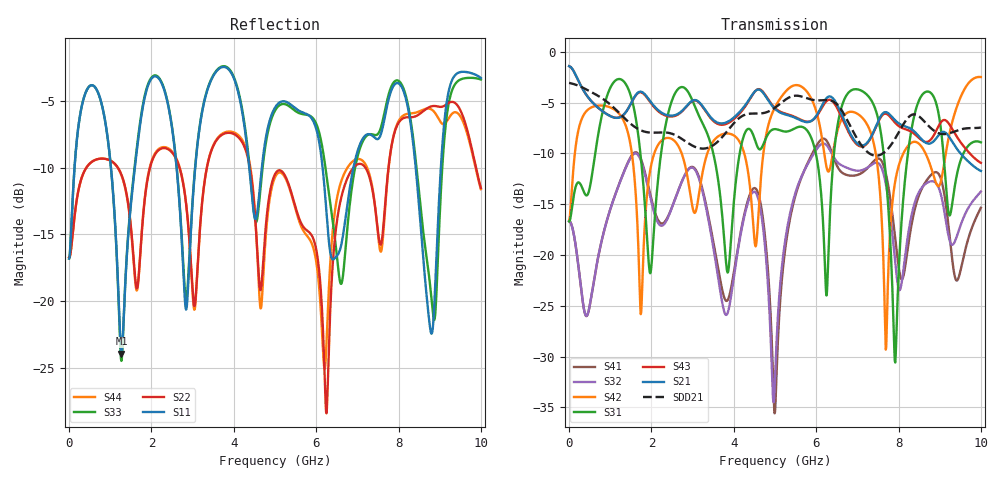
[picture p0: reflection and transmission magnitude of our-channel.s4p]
! Created with skrf 2.0.1 (http://scikit-rf.org).
# Hz S RI R 50.0
!freq ReS11 ImS11 ReS12 ImS12 ReS13 ImS13
! ReS14 ImS14
! ReS21 ImS21 ReS22 ImS22 ReS23 ImS23
! ReS24 ImS24
! ReS31 ImS31 ReS32 ImS32 ReS33 ImS33
! ReS34 ImS34
! ReS41 ImS41 ReS42 ImS42 ReS43 ImS43
! ReS44 ImS44
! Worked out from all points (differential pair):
!   1001 points, 1 MHz to 10 GHz, reference 50 ohm
!   strongest paths, dB at 1 MHz, 2.501 GHz, 5 GHz, 7.5 GHz, 10 GHz:
!     S21: -1.4, -6.3, -5.6, -6.9, -11.7
!     S43: -1.4, -6.4, -5.5, -7.0, -10.9
!     S31: -16.7, -4.8, -7.6, -6.5, -8.9
!     S42: -16.6, -8.6, -5.4, -11.6, -2.5
!     S32: -16.7, -15.3, -32.2, -10.9, -13.8
!     S41: -16.7, -15.3, -35.5, -10.5, -15.3
!   taken as a pair (ports 1,3 in; 2,4 out), SDD21 dB: -3.0, -8.1, -5.5, -10.2, -7.4
!   lowest |S11| = -23.9 dB at 1.271 GHz (marker M1), VSWR 1.14, Z = 56.8 - j0.467 ohm
!   |S11| at or under -10 dB: 1.017 GHz to 1.598 GHz (580.4 MHz wide, 44.4 % of centre); 6.157 GHz to 6.906 GHz (749.2 MHz wide, 11.5 % of centre); 8.417 GHz to 9.028 GHz (611 MHz wide, 7 % of centre)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
1000000  -0.1442 0.00317  0.8509 -0.0033  0.1463 0.000678  0.147 -0.00118
         0.8509 -0.0033  -0.1454 0.00213  0.147 -0.00118  0.1476 0.00173
         0.1463 0.000678  0.147 -0.00118  -0.1442 0.00318  0.8509 -0.0033
         0.147 -0.00118  0.1476 0.00173  0.8509 -0.0033  -0.1454 0.00213
1.270873e9  0.0634 -0.0041  -0.4207 -0.2327  0.6727 -0.2857  0.0674 -0.2295
            -0.4207 -0.2327  0.2077 -0.2132  0.0673 -0.2286  0.2946 -0.3783
            0.6727 -0.2857  0.0673 -0.2286  0.0596 -0.00146  -0.4217 -0.2318
            0.0674 -0.2295  0.2946 -0.3783  -0.4217 -0.2318  0.2075 -0.2113
4.990501e9  0.3702 0.3756  -0.1309 0.5095  0.3767 -0.1782  -0.0165 0.00226
            -0.1309 0.5095  0.2717 -0.1188  -0.0185 -0.0119  0.4843 0.2132
            0.3767 -0.1782  -0.0185 -0.0119  0.3476 0.378  -0.1387 0.5136
            -0.0165 0.00226  0.4843 0.2132  -0.1387 0.5136  0.2669 -0.1097
6.430357e9  0.1437 -0.00122  0.1306 -0.5692  0.2243 0.2171  0.2952 -0.049
            0.1306 -0.5692  0.0923 0.1262  0.3019 0.0179  0.3223 -0.1042
            0.2243 0.2171  0.3019 0.0179  0.1696 -0.0738  0.1295 -0.5463
            0.2952 -0.049  0.3223 -0.1042  0.1295 -0.5463  0.1197 0.1633
7.70023e9  0.4536 0.2513  -0.3479 0.3659  -0.1207 -0.2019  -0.2374 0.071
           -0.3479 0.3659  0.2495 0.0632  -0.2147 0.0424  0.0283 -0.0205
           -0.1207 -0.2019  -0.2147 0.0424  0.4671 0.2796  -0.3487 0.3524
           -0.2374 0.071  0.0283 -0.0205  -0.3487 0.3524  0.2409 0.0688
8.80012e9  0.0644 0.0393  0.3489 -0.0715  0.2372 -0.577  0.0791 0.2362
           0.3489 -0.0715  0.3723 -0.3862  0.0212 0.2299  0.209 -0.1639
           0.2372 -0.577  0.0212 0.2299  0.1008 0.013  0.3726 -0.0246
           0.0791 0.2362  0.209 -0.1639  0.3726 -0.0246  0.3286 -0.4056
1e10  0.6804 -0.0798  -0.2588 -0.0176  0.1069 -0.3423  0.1158 -0.1256
      -0.2588 -0.0176  -0.0236 -0.264  0.1629 -0.1251  0.5426 -0.5214
      0.1069 -0.3423  0.1629 -0.1251  0.6752 0.0256  -0.2837 -0.018
      0.1158 -0.1256  0.5426 -0.5214  -0.2837 -0.018  -0.0124 -0.2622
